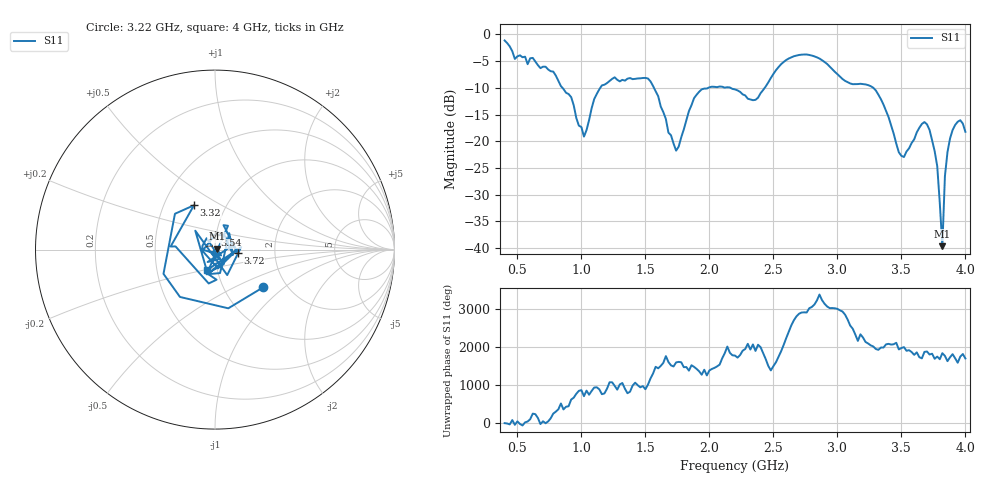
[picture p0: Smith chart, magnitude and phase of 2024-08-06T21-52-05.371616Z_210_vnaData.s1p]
!Created with skrf (http://scikit-rf.org).
# Hz S RI R 50.0
!freq ReS11 ImS11
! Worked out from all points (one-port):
!   181 points, 400 MHz to 4 GHz, reference 50 ohm
!   lowest |S11| = -39.6 dB at 3.82 GHz (marker M1), VSWR 1.02, Z = 50.9 + j0.484 ohm
!   |S11| at or under -10 dB: 852 MHz to 1.147 GHz (295.3 MHz wide, 29.5 % of centre); 1.567 GHz to 1.991 GHz (423.9 MHz wide, 23.8 % of centre); 3.281 GHz to end of sweep (the widest 3 of 4)
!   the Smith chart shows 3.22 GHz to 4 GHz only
!   S11 on the Smith chart (normalised r, x): 3.22 GHz: 1.52, -0.73; 3.32 GHz: 0.71, +0.38; 3.54 GHz: 0.98, +0.16; 3.72 GHz: 1.29, -0.04; 4 GHz: 0.89, -0.21
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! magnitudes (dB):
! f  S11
! 400 MHz  -1.1
! 480 MHz  -4.6
! 620 MHz  -4.4
! 860 MHz  -10.2
! 1.02 GHz  -19.1
! 1.14 GHz  -10.3
! 1.3 GHz  -8.8
! 1.52 GHz  -8.3
! 1.76 GHz  -21.0
! 1.92 GHz  -10.7
! 2.2 GHz  -10.3
! 2.36 GHz  -12.2
! 2.66 GHz  -4.1
! 2.86 GHz  -4.5
! 3.1 GHz  -9.2
! 3.22 GHz  -9.4
! 3.32 GHz  -11.3
! 3.48 GHz  -22.1
! 3.54 GHz  -21.9
! 3.56 GHz  -21.3
! 3.66 GHz  -16.8
! 3.72 GHz  -17.9
! 3.78 GHz  -24.7
! 3.82 GHz  -39.6
! 3.84 GHz  -26.6
! 3.88 GHz  -19.5
! 3.96 GHz  -16.1
! 4 GHz  -18.2
